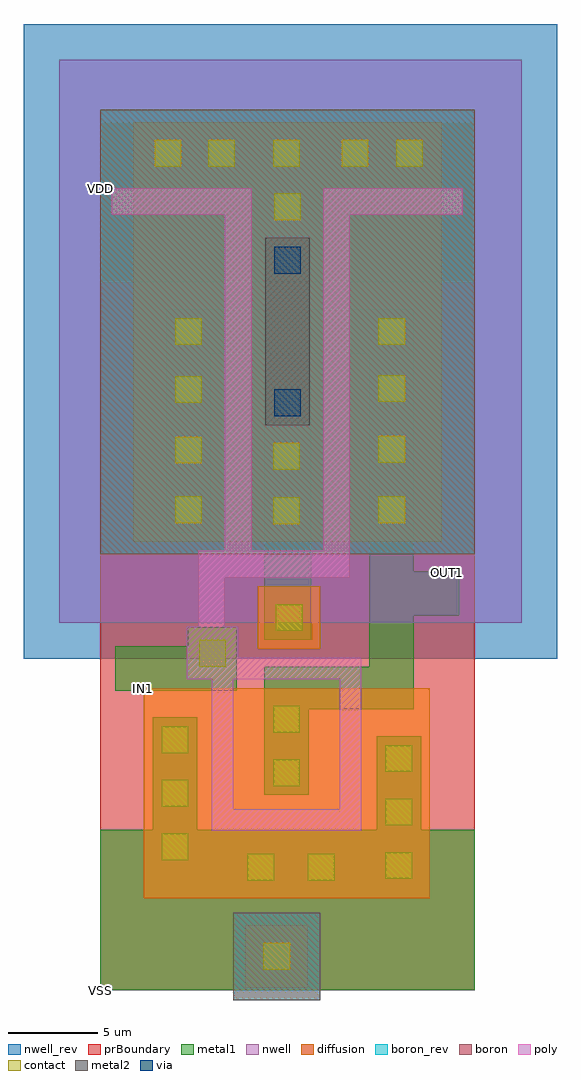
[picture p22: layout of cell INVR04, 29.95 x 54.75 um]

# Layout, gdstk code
import gdstk
lib = gdstk.Library(unit=1e-6, precision=1e-09)
def R(c, l, rs):  # rectangles x0, y0, x1, y1
    for r in rs: c.add(gdstk.rectangle(r[:2], r[2:], *l))
def A(c, l, x, y, w, h, nx, ny, dx, dy):  # array of equal rectangles
    R(c, l, [(x+i*dx, y+j*dy, x+i*dx+w, y+j*dy+h) for i in range(nx) for j in range(ny)])
def P(c, l, *ps):  # polygons
    for p in ps: c.add(gdstk.Polygon(p, *l))
nwell = (1, 0)
diffusion = (2, 0)
nwell_rev = (3, 0)
poly = (4, 0)
boron = (5, 0)
boron_rev = (6, 0)
contact = (7, 0)
metal1 = (8, 0)
via = (9, 0)
metal2 = (10, 0)
prBoundary = (28, 0)

invr04 = lib.new_cell('INVR04')
R(invr04, nwell, [(-2.3,20.6,23.65,52.2)])
R(invr04, diffusion, [(8.15,0.15,11.65,3.65), (2.45,5.15,18.5,16.95), (8.85,19.15,12.35,22.65), (1.85,25.15,19.15,48.7)])
R(invr04, nwell_rev, [(-4.3,18.6,25.65,54.2)])
P(invr04, poly, [(6.25,8.95),(6.25,17.45),(4.85,17.45),(4.85,20.4),(5.5,20.4),(5.5,24.65),(7,24.65),(7,43.5),(0.65,43.5),(0.65,45),(8.5,45),(8.5,24.65),(12.5,24.65),(12.5,45),(20.35,45),(20.35,43.5),(14,43.5),(14,23.15),(7,23.15),(7,20.4),(7.75,20.4),(7.75,18.65),(13.45,18.65),(13.45,17.45),(7.45,17.45),(7.45,10.15),(13.45,10.15),(13.45,18.65),(14.65,18.65),(14.65,8.95)])
R(invr04, boron, [(7.45,-0.55,12.35,4.35), (0,24.45,21,49.4)])
R(invr04, boron_rev, [(7.45,-0.55,12.35,4.35), (0,24.45,21,49.4)])
A(invr04, contact, 16, 6.25, 1.5, 1.5, 1, 3, 0, 3)
A(invr04, contact, 3.45, 7.3, 1.5, 1.5, 1, 3, 0, 3)
A(invr04, contact, 15.6, 26.2, 1.5, 1.5, 1, 3, 0, 3.4)
R(invr04, contact, [(9.15,1.15,10.65,2.65), (8.25,6.15,9.75,7.65), (11.65,6.15,13.15,7.65), (9.7,11.45,11.2,12.95), (9.7,14.45,11.2,15.95), (5.55,18.15,7.05,19.65), (9.85,20.15,11.35,21.65), (9.7,26.15,11.2,27.65), (4.2,26.2,5.7,27.7), (9.7,29.2,11.2,30.7), (4.2,29.55,5.7,31.05), (4.2,32.95,5.7,34.45), (4.2,36.2,5.7,37.7), (15.6,36.2,17.1,37.7), (9.75,43.2,11.25,44.7), (3.05,46.2,4.55,47.7), (6.05,46.2,7.55,47.7), (9.7,46.2,11.2,47.7), (13.55,46.2,15.05,47.7), (16.6,46.2,18.1,47.7)])
R(invr04, metal1, [(0,0,21,9), (0.85,16.8,3.35,19.3), (9.2,19.65,11.85,34.2), (17.65,21,20.15,23.5), (0,39.7,21,48.7), (0,39.7,21,48.7)])
P(invr04, metal1, [(0,0),(0,9),(2.95,9),(2.95,15.3),(5.45,15.3),(5.45,9),(15.5,9),(15.5,14.25),(18,14.25),(18,9),(21,9),(21,0)],
  [(9.2,10.95),(9.2,18.15),(15.1,18.15),(15.1,35.7),(6.2,35.7),(6.2,25.65),(3.7,25.65),(3.7,38.2),(17.6,38.2),(17.6,23.5),(20.15,23.5),(20.15,21),(17.6,21),(17.6,15.75),(11.7,15.75),(11.7,10.95)],
  [(0.85,16.8),(0.85,19.3),(4.9,19.3),(4.9,20.35),(7.65,20.35),(7.65,16.8)])
R(invr04, via, [(9.75,32.2,11.25,33.7), (9.75,40.2,11.25,41.7)])
R(invr04, metal2, [(9.25,31.7,11.75,42.2)])
R(invr04, prBoundary, [(0,0,21,48.7)])
invr04.add(gdstk.Label('VSS', (0.001,0.001), layer=8, texttype=7))
invr04.add(gdstk.Label('VDD', (0.002,45), layer=8, texttype=7))
invr04.add(gdstk.Label('OUT1', (19.495,23.405), layer=8, texttype=7))
invr04.add(gdstk.Label('IN1', (2.45,16.9), layer=8, texttype=7))

lib.write_gds('INVR04.gds')
